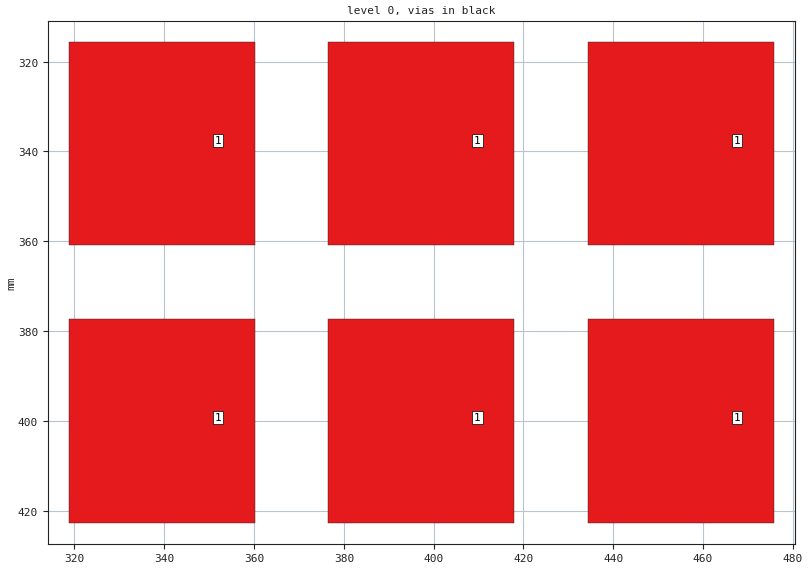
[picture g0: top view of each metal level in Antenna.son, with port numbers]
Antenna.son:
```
FTYP SONPROJ 10 ! Sonnet Project File
VER 13.01
HEADER
LIC sonnet9.aa.99999
DAT 11/28/2011 16:17:59
BUILT_BY_CREATED example 13.01 02/23/2011 18:03:12
BUILT_BY_SAVED Sonnet Matlab Interface v6.0
MDATE 05/20/2011 09:50:02
HDATE 05/20/2011 09:50:02
END HEADER
DIM
FREQ GHZ
IND NH
LNG MM
ANG DEG
CON /OH
CAP PF
RES OH
END DIM
FREQ
SIMPLE 2.086  
ABS 2.086 2.6
STEP 2.12
STEP 2.305
STEP 2.48
END FREQ
CONTROL
SIMPLE
OPTIONS -dj
SPEED 0
CACHE_ABS 1
TARG_ABS 300
Q_ACC N
END CONTROL
GEO
SYM
TMET "Free Space" 0 FREESPACE 376.7303136 0 0 0
BMET "Lossless" 0 SUP 0 0 0 0
BOX 1 800 800 2048 2048 20 0
      50 1 1 0 0 0 2 "Air" 
      3.04 2.94 1 0.0012 0 0 2 "Rogers RT6002" 
LORGN 0 800 U
POR1 STD
POLY 16 1
0
1 50 0 0 0 409.765625 399.21875
POR1 STD
POLY 2 1
0
1 50 0 0 0 351.953125 399.21875
POR1 STD
POLY 47 1
0
1 50 0 0 0 467.578125 399.21875
POR1 STD
POLY 54 1
0
1 50 0 0 0 409.765625 337.5
POR1 STD
POLY 36 1
0
1 50 0 0 0 351.953125 337.5
POR1 STD
POLY 19 1
0
1 50 0 0 0 467.578125 337.5
NUM 12
0 5 -1 N 9 1 1 100 100 0 0 0 Y
417.96875 422.65625
376.5625 422.65625
376.5625 377.34375
417.96875 377.34375
417.96875 422.65625
END
VIA POLYGON
1 5 -1 N 16 1 1 100 100 0 0 0 Y
TOLEVEL 0 RING NOCOVERS
409.375 399.21875
410.15625 399.21875
410.15625 400.78125
409.375 400.78125
409.375 399.21875
END
0 5 -1 N 14 1 1 100 100 0 0 0 Y
360.15625 422.65625
318.75 422.65625
318.75 377.34375
360.15625 377.34375
360.15625 422.65625
END
VIA POLYGON
1 5 -1 N 2 1 1 100 100 0 0 0 Y
TOLEVEL 0 RING NOCOVERS
351.5625 399.21875
352.34375 399.21875
352.34375 400.78125
351.5625 400.78125
351.5625 399.21875
END
0 5 -1 N 34 1 1 100 100 0 0 0 Y
475.78125 422.65625
434.375 422.65625
434.375 377.34375
475.78125 377.34375
475.78125 422.65625
END
VIA POLYGON
1 5 -1 N 47 1 1 100 100 0 0 0 Y
TOLEVEL 0 RING NOCOVERS
467.1875 399.21875
467.96875 399.21875
467.96875 400.78125
467.1875 400.78125
467.1875 399.21875
END
0 5 -1 N 41 1 1 100 100 0 0 0 Y
417.96875 360.9375
376.5625 360.9375
376.5625 315.625
417.96875 315.625
417.96875 360.9375
END
VIA POLYGON
1 5 -1 N 54 1 1 100 100 0 0 0 Y
TOLEVEL 0 RING NOCOVERS
409.375 337.5
410.15625 337.5
410.15625 339.0625
409.375 339.0625
409.375 337.5
END
0 5 -1 N 60 1 1 100 100 0 0 0 Y
360.15625 360.9375
318.75 360.9375
318.75 315.625
360.15625 315.625
360.15625 360.9375
END
VIA POLYGON
1 5 -1 N 36 1 1 100 100 0 0 0 Y
TOLEVEL 0 RING NOCOVERS
351.5625 337.5
352.34375 337.5
352.34375 339.0625
351.5625 339.0625
351.5625 337.5
END
0 5 -1 N 66 1 1 100 100 0 0 0 Y
475.78125 360.9375
434.375 360.9375
434.375 315.625
475.78125 315.625
475.78125 360.9375
END
VIA POLYGON
1 5 -1 N 19 1 1 100 100 0 0 0 Y
TOLEVEL 0 RING NOCOVERS
467.1875 337.5
467.96875 337.5
467.96875 339.0625
467.1875 339.0625
467.1875 337.5
END
END GEO
OPT
MAX 100
VARS
END
END OPT
VARSWP
END VARSWP
```
